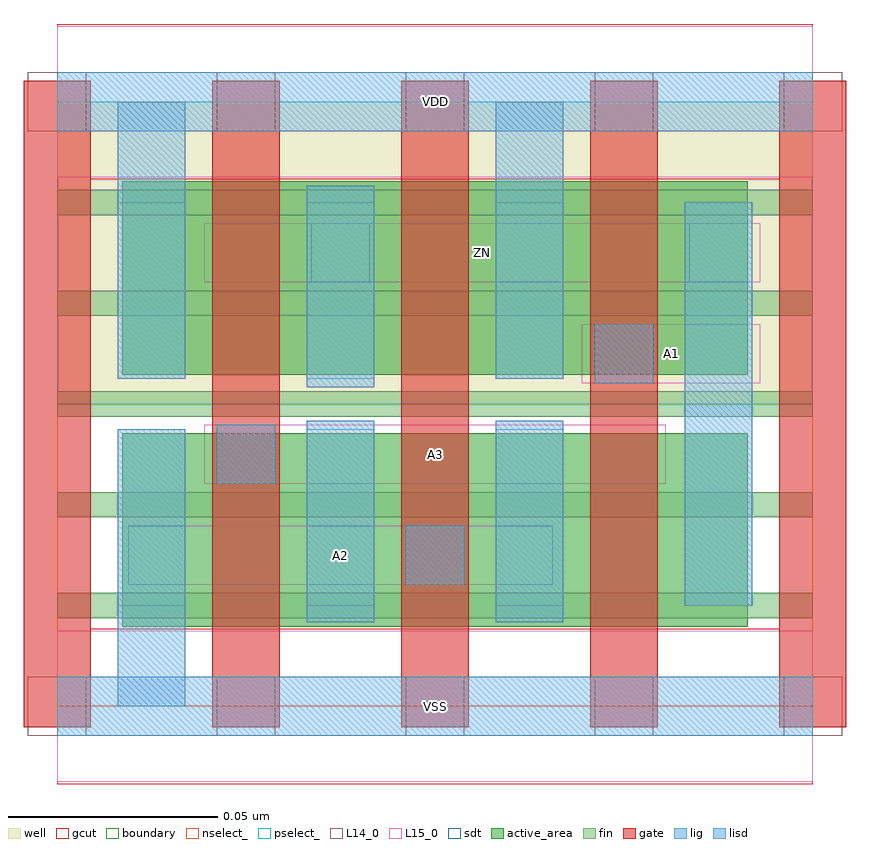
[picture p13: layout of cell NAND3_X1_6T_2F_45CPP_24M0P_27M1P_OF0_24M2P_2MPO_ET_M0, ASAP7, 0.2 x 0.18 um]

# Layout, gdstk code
import gdstk
lib = gdstk.Library(unit=1e-6, precision=2.5e-10)
def R(c, l, rs):  # rectangles x0, y0, x1, y1
    for r in rs: c.add(gdstk.rectangle(r[:2], r[2:], *l))
def A(c, l, x, y, w, h, nx, ny, dx, dy):  # array of equal rectangles
    R(c, l, [(x+i*dx, y+j*dy, x+i*dx+w, y+j*dy+h) for i in range(nx) for j in range(ny)])
well = (1, 0)
fin = (2, 0)
gate = (7, 0)
gcut = (10, 0)
active_area = (11, 0)
nselect_ = (12, 0)
pselect_ = (13, 0)
L14_0 = (14, 0)
L15_0 = (15, 0)
lig = (16, 0)
lisd = (17, 0)
sdt = (88, 0)
boundary = (100, 0)

nand3_x1_6t_2f_45cpp_24m = lib.new_cell('NAND3_X1_6T_2F_45CPP_24M0P_27M1P_OF0_24M2P_2MPO_ET_M0')
R(nand3_x1_6t_2f_45cpp_24m, well, [(0,0.072,0.18,0.144)])
A(nand3_x1_6t_2f_45cpp_24m, fin, 0, 0.021, 0.18, 0.006, 1, 5, 0, 0.024)
A(nand3_x1_6t_2f_45cpp_24m, gate, -0.008, -0.005, 0.016, 0.154, 5, 1, 0.045, 0)
R(nand3_x1_6t_2f_45cpp_24m, gcut, [(0,-0.0185,0.18,0.0185), (-0.008,-0.005,0.008,0.149), (0.172,-0.005,0.188,0.149), (0,0.1255,0.18,0.1625)])
A(nand3_x1_6t_2f_45cpp_24m, active_area, 0.0155, 0.019, 0.059, 0.046, 3, 2, 0.045, 0.06)
R(nand3_x1_6t_2f_45cpp_24m, nselect_, [(0,0,0.18,0.072)])
R(nand3_x1_6t_2f_45cpp_24m, pselect_, [(0,0.072,0.18,0.144)])
A(nand3_x1_6t_2f_45cpp_24m, L14_0, -0.007, -0.007, 0.014, 0.014, 5, 2, 0.045, 0.144)
R(nand3_x1_6t_2f_45cpp_24m, L14_0, [(0.083,0.029,0.097,0.043), (0.038,0.053,0.052,0.067), (0.128,0.077,0.142,0.091), (0.0605,0.101,0.0745,0.115), (0.1505,0.101,0.1645,0.115)])
R(nand3_x1_6t_2f_45cpp_24m, L15_0, [(0,-0.018,0.18,0.018), (0.017,0.029,0.118,0.043), (0.035,0.053,0.145,0.067), (0.125,0.077,0.1675,0.091), (0.035,0.101,0.1675,0.115), (0,0.126,0.18,0.162)])
R(nand3_x1_6t_2f_45cpp_24m, lig, [(0,-0.007,0.18,0.007), (0.083,0.029,0.097,0.043), (0.038,0.053,0.052,0.067), (0.128,0.077,0.142,0.091), (0,0.137,0.18,0.151)])
R(nand3_x1_6t_2f_45cpp_24m, lisd, [(0.0145,0,0.0305,0.066), (0.0595,0.02,0.0755,0.068), (0.1045,0.02,0.1205,0.068), (0.1495,0.024,0.1655,0.12), (0.0595,0.076,0.0755,0.124), (0.0145,0.078,0.0305,0.144), (0.1045,0.078,0.1205,0.144)])
A(nand3_x1_6t_2f_45cpp_24m, sdt, 0.0145, 0.024, 0.016, 0.042, 3, 2, 0.045, 0.054)
R(nand3_x1_6t_2f_45cpp_24m, sdt, [(0.1495,0.024,0.1655,0.12)])
R(nand3_x1_6t_2f_45cpp_24m, boundary, [(0,0,0.18,0.144)])
nand3_x1_6t_2f_45cpp_24m.add(gdstk.Label('A1', (0.1462,0.084), layer=15, texttype=251))
nand3_x1_6t_2f_45cpp_24m.add(gdstk.Label('A2', (0.0675,0.036), layer=15, texttype=251))
nand3_x1_6t_2f_45cpp_24m.add(gdstk.Label('ZN', (0.1013,0.108), layer=15, texttype=251))
nand3_x1_6t_2f_45cpp_24m.add(gdstk.Label('A3', (0.09,0.06), layer=15, texttype=251))
nand3_x1_6t_2f_45cpp_24m.add(gdstk.Label('VDD', (0.09,0.144), layer=15, texttype=251))
nand3_x1_6t_2f_45cpp_24m.add(gdstk.Label('VSS', (0.09,0), layer=15, texttype=251))
nand3_x1_6t_2f_45cpp_24m.add(gdstk.Label('VDD', (0.09,0.144), layer=1, texttype=251))
nand3_x1_6t_2f_45cpp_24m.add(gdstk.Label('VSS', (0.09,0), layer=3, texttype=251))

lib.write_gds('NAND3_X1_6T_2F_45CPP_24M0P_27M1P_OF0_24M2P_2MPO_ET_M0.gds')
